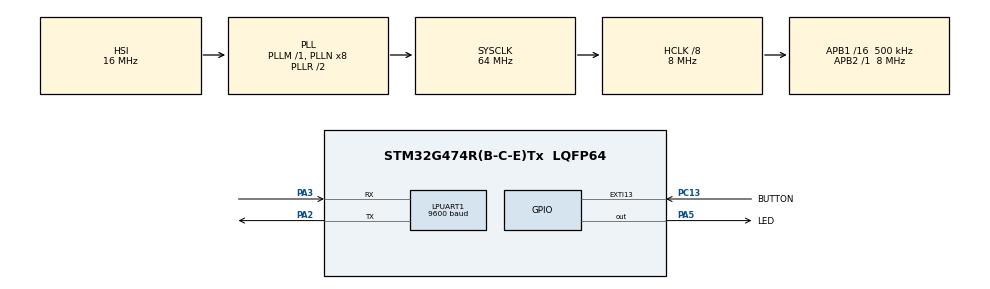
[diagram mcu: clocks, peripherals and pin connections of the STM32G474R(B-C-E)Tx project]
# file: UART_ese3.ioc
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LPUART1.BaudRate=9600
Mcu.Family=STM32G4
Mcu.Name=STM32G474R(B-C-E)Tx
Mcu.Package=LQFP64
NVIC.EXTI15_10_IRQn=true\:0\:0\:false\:false\:true\:true\:true\:true
NVIC.LPUART1_IRQn=true\:0\:0\:false\:false\:true\:true\:true\:true
NVIC.PriorityGroup=NVIC_PRIORITYGROUP_4
NVIC.TIM6_DAC_IRQn=true\:0\:0\:false\:false\:true\:true\:true\:true
PA2.Mode=Asynchronous
PA2.Signal=LPUART1_TX
PA3.Mode=Asynchronous
PA3.Signal=LPUART1_RX
PA5.GPIO_Label=LED
PA5.Signal=GPIO_Output
PC13.GPIO_Label=BUTTON
PC13.Signal=GPXTI13
ProjectManager.HeapSize=0x200
ProjectManager.StackSize=0x400
ProjectManager.TargetToolchain=STM32CubeIDE
RCC.ADC12Freq_Value=64000000
RCC.ADC345Freq_Value=64000000
RCC.AHBCLKDivider=RCC_SYSCLK_DIV8
RCC.AHBFreq_Value=8000000
RCC.APB1CLKDivider=RCC_HCLK_DIV16
RCC.APB1Freq_Value=500000
RCC.APB1TimFreq_Value=1000000
RCC.APB2Freq_Value=8000000
RCC.APB2TimFreq_Value=8000000
RCC.CortexFreq_Value=8000000
RCC.EXTERNAL_CLOCK_VALUE=12288000
RCC.HCLKFreq_Value=8000000
RCC.HSE_VALUE=24000000
RCC.HSI48_VALUE=48000000
RCC.HSI_VALUE=16000000
RCC.LPUART1CLockSelection=RCC_LPUART1CLKSOURCE_HSI
RCC.LSE_VALUE=32768
RCC.RTCClockSelection=RCC_RTCCLKSOURCE_LSE
RCC.SYSCLKFreq_VALUE=64000000
RCC.SYSCLKSource=RCC_SYSCLKSOURCE_PLLCLK
RCC.USBFreq_Value=64000000
RCC.VCOOutputFreq_Value=128000000
TIM6.PeriodNoDither=499
TIM6.Prescaler=999
VP_SYS_VS_DBSignals.Mode=DisableDeadBatterySignals
VP_TIM6_VS_ClockSourceINT.Mode=Enable_Timer
board=NUCLEO-G474RE

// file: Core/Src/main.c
/* USER CODE BEGIN Header */
/**
  ******************************************************************************
  * @file           : main.c
  * @brief          : Main program body
  ******************************************************************************
  * @attention
  *
  * Copyright (c) 2026 STMicroelectronics.
  * All rights reserved.
  *
  * This software is licensed under terms that can be found in the LICENSE file
  * in the root directory of this software component.
  * If no LICENSE file comes with this software, it is provided AS-IS.
  *
  ******************************************************************************
  */
/* USER CODE END Header */
#include "main.h"
#include "usart.h"
#include "tim.h"
#include "gpio.h"

/* USER CODE BEGIN Includes */
#include "queue.h"
#include "string.h"
#include "stdlib.h"
/* USER CODE END Includes */

/* USER CODE BEGIN PD */
#define MSG_SIZE 100
#define QUEUE_SIZE 8 //massimo numero di messaggi che posso inserire
#define SIZE 10
/* USER CODE END PD */

/* USER CODE BEGIN PV */

static volatile uint8_t tx_busy=0; //1 se la trasmissione è impegnata
static char buffer[QUEUE_SIZE][MSG_SIZE];
static queue_t my_queue;
static char temp_msg[MSG_SIZE];
static uint32_t periodo_totale;
static uint32_t half_period;
static volatile uint8_t set_period=0; //
static char c;
static char buffer_number[SIZE];
static uint8_t idx;
/* USER CODE END PV */

void SystemClock_Config(void);

/* USER CODE BEGIN 0 */
void printMessage(const char* msg){

	char temp[MSG_SIZE];
	memset(temp, 0, MSG_SIZE);
	strcpy(temp,msg);
	queue_enqueue(&my_queue, temp);
	//abbiamo accodato il messaggio

	/*con la bloccante si opera facilemente senza coda e blocca la cpu nel while prima che tutti e 3 messaggi non sono stati inviati ricevuti e stampati
	una vota trasmessi tutti si alza il falg TC Transmission Complete la cpu si sblocca
	// Usiamo la trasmissione bloccante o IT. Per stampare in sequenza 3 messaggi,
    // la bloccante (Polling) in questa funzione di supporto evita sovrapposizioni.
    HAL_UART_Transmit(&hlpuart1, (uint8_t*)msg, strlen(msg), 100);
    HAL_UART_Transmit(&hlpuart1, (uint8_t*)"\r\n", 2, 10); // A capo automatico
    */
}

void printMenu(){
	const char *msg1="Benvenuti, Questa applicazione consente di impostare il periodo del led integrato";
	const char *msg2="Per impostare il periodo cliccare sul pulsante \r\n";
	const char *msg3="Buon divertimento!!!";
	printMessage(msg1);
	printMessage(msg2);
	printMessage(msg3);
}

//verifica se busy_tx è alto, se si lo estre dalla e lo trasmette
void uart_tx_task(void){

	if(tx_busy) return; //se è alto allora si sta già estraendo, non faccio nulla
	//dove salva il valore estratto non puo essere una varialbe locale della funxione
	//estrarre elemento dalla coda
	if (queue_extract(&my_queue, temp_msg) == QUEUE_OK) {
		//siccome usciamo dalla funzione, la variabile di dove salviamo l elemento estratto non può essere una varaibile locale
		HAL_UART_Transmit_IT(&hlpuart1, (uint8_t*) temp_msg, strlen(temp_msg));
		tx_busy = 1;

	}

}
/* USER CODE END 0 */

int main(void)
{

  /* MCU Configuration--------------------------------------------------------*/

  /* Reset of all peripherals, Initializes the Flash interface and the Systick. */
  HAL_Init();

  /* USER CODE BEGIN Init */
  //queue_init(&my_queue,(uint8_t*) buffer, MSG_SIZE, QUEUE_SIZE);

  /* USER CODE END Init */

  /* Configure the system clock */
  SystemClock_Config();

  /* Initialize all configured peripherals */
  MX_GPIO_Init();
  MX_LPUART1_UART_Init();
  MX_TIM6_Init();
  /* USER CODE BEGIN 2 */
  queue_init(&my_queue,(uint8_t *) buffer, MSG_SIZE, QUEUE_SIZE);
  printMenu();
  HAL_TIM_Base_Start_IT(&htim6);
  /* USER CODE END 2 */

  /* Infinite loop */
  while (1)
  {

    /* USER CODE BEGIN 3 */
	//ad ogni ciclo non sto bloccando l esecuzione della cpu
	uart_tx_task();
  }
  /* USER CODE END 3 */
}

void SystemClock_Config(void)
{
  RCC_OscInitTypeDef RCC_OscInitStruct = {0};
  RCC_ClkInitTypeDef RCC_ClkInitStruct = {0};

  /** Configure the main internal regulator output voltage
  */
  HAL_PWREx_ControlVoltageScaling(PWR_REGULATOR_VOLTAGE_SCALE1);

  /** Initializes the RCC Oscillators according to the specified parameters
  * in the RCC_OscInitTypeDef structure.
  */
  RCC_OscInitStruct.OscillatorType = RCC_OSCILLATORTYPE_HSI;
  RCC_OscInitStruct.HSIState = RCC_HSI_ON;
  RCC_OscInitStruct.HSICalibrationValue = RCC_HSICALIBRATION_DEFAULT;
  RCC_OscInitStruct.PLL.PLLState = RCC_PLL_ON;
  RCC_OscInitStruct.PLL.PLLSource = RCC_PLLSOURCE_HSI;
  RCC_OscInitStruct.PLL.PLLM = RCC_PLLM_DIV1;
  RCC_OscInitStruct.PLL.PLLN = 8;
  RCC_OscInitStruct.PLL.PLLP = RCC_PLLP_DIV2;
  RCC_OscInitStruct.PLL.PLLQ = RCC_PLLQ_DIV2;
  RCC_OscInitStruct.PLL.PLLR = RCC_PLLR_DIV2;
  if (HAL_RCC_OscConfig(&RCC_OscInitStruct) != HAL_OK)
  {
    Error_Handler();
  }

  /** Initializes the CPU, AHB and APB buses clocks
  */
  RCC_ClkInitStruct.ClockType = RCC_CLOCKTYPE_HCLK|RCC_CLOCKTYPE_SYSCLK
                              |RCC_CLOCKTYPE_PCLK1|RCC_CLOCKTYPE_PCLK2;
  RCC_ClkInitStruct.SYSCLKSource = RCC_SYSCLKSOURCE_PLLCLK;
  RCC_ClkInitStruct.AHBCLKDivider = RCC_SYSCLK_DIV8;
  RCC_ClkInitStruct.APB1CLKDivider = RCC_HCLK_DIV16;
  RCC_ClkInitStruct.APB2CLKDivider = RCC_HCLK_DIV1;

  if (HAL_RCC_ClockConfig(&RCC_ClkInitStruct, FLASH_LATENCY_0) != HAL_OK)
  {
    Error_Handler();
  }
}

/* USER CODE BEGIN 4 */
void HAL_GPIO_EXTI_Callback(uint16_t GPIO_Pin) {
	if (GPIO_Pin == BUTTON_Pin) {
		if (tx_busy) return;
		const char *msg = "digita il periodo:\r\n";

		//Dice alla UART di smettere immediatamente di ascoltare il canale in background.
		//Cancella tutto quello che stavi aspettando di ricevere,
		//azzera i buffer, torna nello stato Libero perché adesso devo trasmettere un messaggio prioritario
		HAL_UART_AbortReceive(&hlpuart1);
		idx = 0;
		memset(buffer_number, 0, SIZE); // Pulisce il buffer da vecchi residui

		//funzione non bloccante, delega il lavoro alla periferica hardaware(UART) e al NVIC, liberando la CPU
		HAL_UART_Transmit_IT(&hlpuart1, (uint8_t*) msg, strlen(msg));

	}
}

void HAL_UART_TxCpltCallback(UART_HandleTypeDef *huart){
	if(huart==&hlpuart1){
		tx_busy=0;
		HAL_UART_Receive_IT(&hlpuart1, (uint8_t*) &c, 1);

	}
}

void HAL_UART_RxCpltCallback(UART_HandleTypeDef *huart){
	if(huart==&hlpuart1){
		//il buffer deve essere chiuso
		if(c=='\n' || c=='\r'){
			buffer_number[idx]='\0';
			periodo_totale = atoi(buffer_number);
			// Controllo di sicurezza: evita divisioni per zero o valori negativi
			if (periodo_totale >= 2) {
				// Applichi la formula richiesta
				half_period = (periodo_totale / 2) - 1;

				// Aggiorni direttamente il registro hardware ARR del Timer
				__HAL_TIM_SET_AUTORELOAD(&htim6, half_period);
				//resetto il contatore
				__HAL_TIM_SET_COUNTER(&htim6, 0);
			}
			idx=0;
		}
		if(c>='0' && c<='9'){
			buffer_number[idx++]=c;
			if (idx == SIZE - 1) {
				//stiamo nel ultimo spazio disponibile del buffer, dobbiamo inserire il terminatore
				buffer_number[idx] = '\0';
				uint32_t periodo_totale = atoi(buffer_number);
				// Controllo di sicurezza: evita divisioni per zero o valori negativi
				if (periodo_totale >= 2) {
					// Applichi la formula richiesta
					uint32_t half_period = (periodo_totale / 2) - 1;

					// Aggiorni direttamente il registro hardware ARR del Timer
					__HAL_TIM_SET_AUTORELOAD(&htim6, half_period);
					//resetto il contatore
					__HAL_TIM_SET_COUNTER(&htim6, 0);
					idx = 0;

				}
			}
		}

		//devo riarmare la ricezione,stiamo dicendo che abbiamo ottenuto il byte e dobbiamo richiederne un altro
		//nel caso in cui si inserisca un numero a due cifre, prima ne richieno uno, riarmo e ne richiedo un altro
		HAL_UART_Receive_IT(&hlpuart1, (uint8_t*) &c, 1);

	}
}
void HAL_TIM_PeriodElapsedCallback(TIM_HandleTypeDef *htim) {
    if (htim->Instance == TIM6) {
        HAL_GPIO_TogglePin(LED_GPIO_Port, LED_Pin); // Cambia stato ogni 500ms = 1Hz totale
    }
}
/* USER CODE END 4 */

void Error_Handler(void)
{
  __disable_irq();
  while (1)
  {
  }
}
